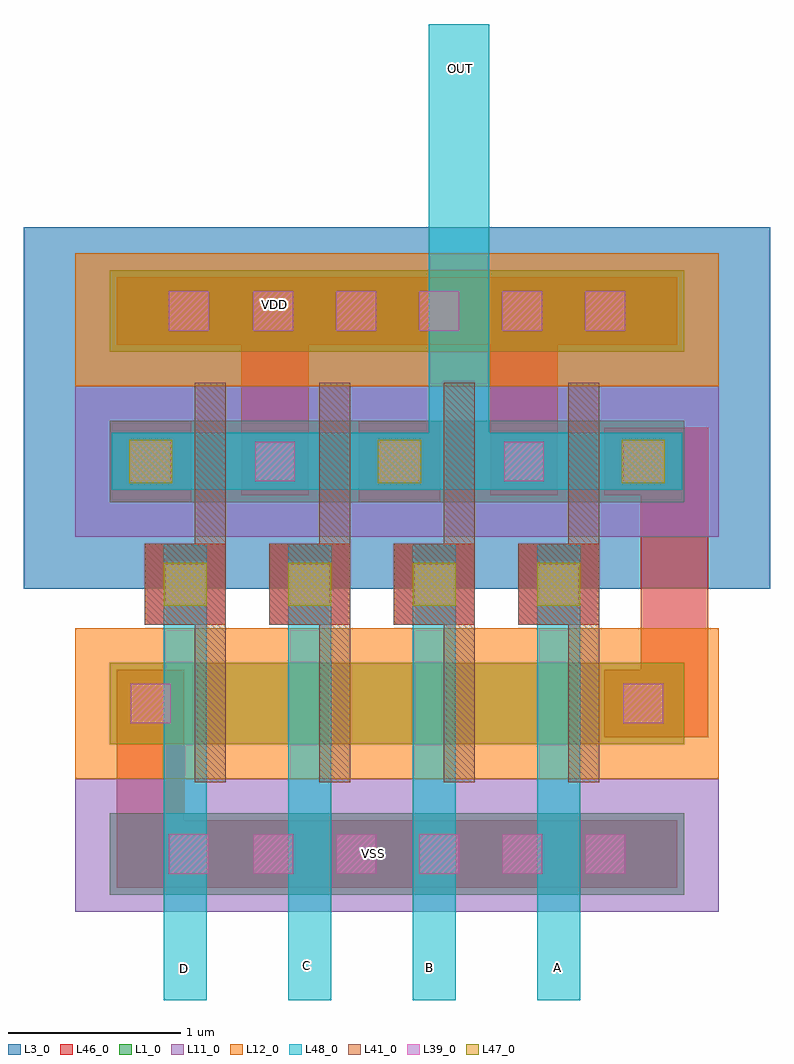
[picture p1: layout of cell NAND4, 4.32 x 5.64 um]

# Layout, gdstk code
import gdstk
lib = gdstk.Library(unit=1e-6, precision=1e-09)
def R(c, l, rs):  # rectangles x0, y0, x1, y1
    for r in rs: c.add(gdstk.rectangle(r[:2], r[2:], *l))
def A(c, l, x, y, w, h, nx, ny, dx, dy):  # array of equal rectangles
    R(c, l, [(x+i*dx, y+j*dy, x+i*dx+w, y+j*dy+h) for i in range(nx) for j in range(ny)])
L1_0 = (1, 0)
L3_0 = (3, 0)
L11_0 = (11, 0)
L12_0 = (12, 0)
L39_0 = (39, 0)
L41_0 = (41, 0)
L46_0 = (46, 0)
L47_0 = (47, 0)
L48_0 = (48, 0)

nand4 = lib.new_cell('NAND4')
R(nand4, L1_0, [(5.77,2.195,9.09,2.665), (5.77,3.065,9.09,3.535), (5.77,4.465,9.09,4.935), (5.77,5.335,9.09,5.805)])
R(nand4, L3_0, [(5.27,3.965,9.59,6.055)])
R(nand4, L11_0, [(5.57,2.095,9.29,2.865), (5.57,4.265,9.29,5.135)])
R(nand4, L12_0, [(5.57,2.865,9.29,3.735), (5.57,5.135,9.29,5.905)])
A(nand4, L39_0, 6.6, 2.315, 0.23, 0.23, 5, 2, 0.48, 3.14)
A(nand4, L39_0, 6.09, 3.875, 0.23, 0.23, 4, 1, 0.72, 0)
A(nand4, L39_0, 5.89, 4.585, 0.23, 0.23, 4, 1, 0.72, 0)
R(nand4, L39_0, [(6.11,2.315,6.34,2.545), (5.89,3.185,6.12,3.415), (8.74,3.185,8.97,3.415), (8.74,4.585,8.97,4.815), (6.11,5.455,6.34,5.685)])
A(nand4, L41_0, 6.26, 2.845, 0.18, 2.31, 4, 1, 0.72, 0)
A(nand4, L41_0, 5.97, 3.755, 0.47, 0.47, 4, 1, 0.72, 0)
A(nand4, L46_0, 5.97, 3.755, 0.47, 0.47, 4, 1, 0.72, 0)
R(nand4, L46_0, [(5.81,2.235,6.2,3.495), (5.81,2.235,9.05,2.625), (8.63,3.105,9.23,3.495), (8.84,3.105,9.23,4.895), (5.77,4.465,6.24,4.935), (7.21,4.465,7.68,4.935), (6.53,4.505,6.92,5.765), (7.97,4.505,8.36,5.765), (8.63,4.505,9.23,4.895), (5.81,5.375,9.05,5.765)])
A(nand4, L47_0, 6.08, 3.865, 0.25, 0.25, 4, 1, 0.72, 0)
R(nand4, L47_0, [(5.88,4.575,6.13,4.825), (7.32,4.575,7.57,4.825), (8.73,4.575,8.98,4.825)])
A(nand4, L48_0, 6.08, 1.585, 0.25, 2.63, 4, 1, 0.72, 0)
R(nand4, L48_0, [(5.78,4.535,9.08,4.865), (7.615,4.575,7.965,7.23)])
nand4.add(gdstk.Label('VDD', (6.72,5.605), layer=101, texttype=0))
nand4.add(gdstk.Label('VSS', (7.295,2.435), layer=101, texttype=0))
nand4.add(gdstk.Label('D', (6.2,1.765), layer=102, texttype=0))
nand4.add(gdstk.Label('C', (6.905,1.785), layer=102, texttype=0))
nand4.add(gdstk.Label('B', (7.62,1.775), layer=102, texttype=0))
nand4.add(gdstk.Label('A', (8.36,1.775), layer=102, texttype=0))
nand4.add(gdstk.Label('OUT', (7.8,6.97), layer=102, texttype=0))

lib.write_gds('NAND4.gds')
